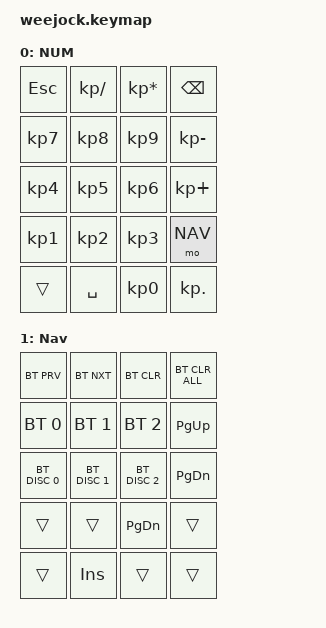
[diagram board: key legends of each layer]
#include <behaviors.dtsi>
#include <dt-bindings/zmk/keys.h>
#include <dt-bindings/zmk/bt.h>

// Layer numbers
#define NUM 0
#define NAV 1

/ {
  keymap {
    compatible = "zmk,keymap";

    default_layer { // layer 0
      // ,-----------------------.
      // | Esc |  /  |  *  | Bks |
      // |  7  |  8  |  9  |  -  |
      // |  4  |  5  |  6  |  +  |
      // |  1  |  2  |  3  |mo(1)|
      // | NAV |  _  |  0  |  .  |
      // `-----------------------'
      bindings = <
        &kp ESCAPE  &kp KP_DIVIDE  &kp KP_MULTIPLY  &kp BACKSPACE
        &kp KP_N7   &kp KP_N8      &kp KP_N9        &kp KP_SUBTRACT
        &kp KP_N4   &kp KP_N5      &kp KP_N6        &kp KP_PLUS
        &kp KP_N1   &kp KP_N2      &kp KP_N3        &mo NAV
        &trans      &kp SPACE      &kp KP_N0        &kp KP_DOT
      >;
      display-name = "NUM";
    };
    navigation_layer { // layer 1
      // ,-----------------------.
      // |STUDI|     |     |     |
      // | Home| Up  | PgUp|     |
      // | Left|XXXXX|Right|     |
      // | End | Down| PgDn|     |
      // |#####| Ins |     |     |
      // `-----------------------'
      bindings = <
        &bt BT_PRV      &bt BT_NXT      &bt BT_CLR      &bt BT_CLR_ALL
        &bt BT_SEL 0    &bt BT_SEL 1    &bt BT_SEL 2    &kp PG_UP
        &bt BT_DISC 0   &bt BT_DISC 1   &bt BT_DISC 2   &kp PG_DN
        &trans          &trans          &kp PG_DN       &trans
        &trans          &kp INS         &trans          &trans
      >;
      display-name = "Nav";
    };
  };
};
